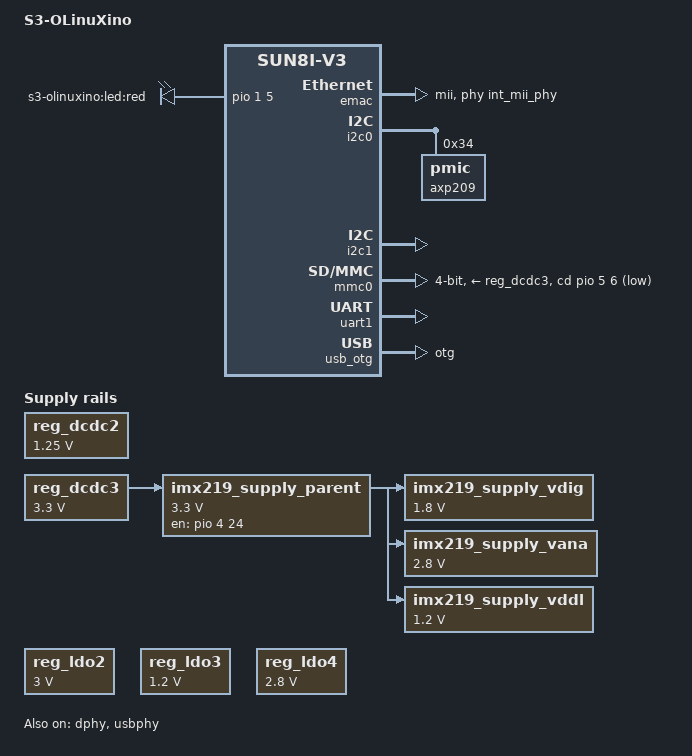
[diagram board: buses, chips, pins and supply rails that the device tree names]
// SPDX-License-Identifier: (GPL-2.0+ OR X11)
/*
 * Copyright 2020 Paul Kocialkowski <contact@paulk.fr>
 */

/dts-v1/;
#include "sun8i-v3.dtsi"
#include <dt-bindings/gpio/gpio.h>

/ {
	model = "S3-OLinuXino";
	/* FIXME with agreed lines */
	compatible = "olimex,s3-olinuxino", "allwinner,sun8i-s3",
		     "allwinner,sun8i-v3";

	aliases {
		serial0 = &uart1;
	};

	chosen {
		stdout-path = "serial0:115200n8";
	};

	leds {
		compatible = "gpio-leds";

		led-red {
			label = "s3-olinuxino:led:red";
			gpios = <&pio 1 5 GPIO_ACTIVE_HIGH>; /* PB5 */
		};
	};

/*
	reserved-memory {
		#address-cells = <1>;
		#size-cells = <1>;
		ranges;

		csi0_memory: pool {
			compatible = "shared-dma-pool";
			size = <0x4000000>;
			no-align;
			no-map;
		};
	};
*/

	imx219_supply_parent: imx219-supply-parent {
		compatible = "regulator-fixed";
		regulator-name = "imx219-supply-parent";
		regulator-min-microvolt = <3300000>;
		regulator-max-microvolt = <3300000>;
		vin-supply = <&reg_dcdc3>;
		gpio = <&pio 4 24 GPIO_ACTIVE_HIGH>; /* PE24 */
		enable-active-high;
	};

	imx219_supply_vdig: imx219-supply-vdig {
		compatible = "regulator-fixed";
		regulator-name = "imx219-supply-vdig";
		regulator-min-microvolt = <1800000>;
		regulator-max-microvolt = <1800000>;
		vin-supply = <&imx219_supply_parent>;
	};

	imx219_supply_vana: imx219-supply-vana {
		compatible = "regulator-fixed";
		regulator-name = "imx219-supply-vana";
		regulator-min-microvolt = <2800000>;
		regulator-max-microvolt = <2800000>;
		vin-supply = <&imx219_supply_parent>;
	};

	imx219_supply_vddl: imx219-supply-vddl {
		compatible = "regulator-fixed";
		regulator-name = "imx219-supply-vddl";
		regulator-min-microvolt = <1200000>;
		regulator-max-microvolt = <1200000>;
		vin-supply = <&imx219_supply_parent>;
	};

	imx219_clock: clock {
		compatible = "fixed-clock";
		#clock-cells = <0>;
		clock-frequency = <24000000>;
	};
};


/*
&csi0 {
	memory-region = <&csi0_memory>; 
	status = "okay";
};
*/

/*
&csi1 {
	pinctrl-names = "default";
	pinctrl-0 = <&csi1_8bit_pins>;
	status = "okay";
};
*/

&dphy {
	status = "okay";
};

&emac {
	phy-handle = <&int_mii_phy>;
	phy-mode = "mii";
	status = "okay";
};

&i2c0 {
	status = "okay";

	axp209: pmic@34 {
		reg = <0x34>;
		interrupt-parent = <&nmi_intc>;
		interrupts = <0 IRQ_TYPE_LEVEL_LOW>;
	};
};

&i2c1 {
	pinctrl-names = "default";
	pinctrl-0 = <&i2c1_pe_pins>;
	status = "okay";
/*
	ov2640: camera@30 {
		compatible = "ovti,ov2640";
		reg = <0x30>;
		pinctrl-names = "default";
		pinctrl-0 = <&csi1_mclk_pin>;
		assigned-clocks = <&ccu CLK_CSI1_MCLK>;
		assigned-clock-rates = <24000000>;
		resetb-gpios = <&pio 4 16 GPIO_ACTIVE_HIGH>;
		pwdn-gpios = <&pio 4 17 GPIO_ACTIVE_LOW>;
		clocks = <&ccu CLK_CSI1_MCLK>;
		clock-names = "xvclk";
		status = "okay";
	};
*/

/*
	imx219: camera@10 {
		compatible = "sony,imx219";
		reg = <0x10>;
		clocks = <&imx219_clock>;
		clock-names = "xclk";
		VDIG-supply = <&imx219_supply_vdig>;
		VANA-supply = <&imx219_supply_vana>;
		VDDL-supply = <&imx219_supply_vddl>;

		port {
			imx219_out_mipi_csi2: endpoint {
				data-lanes = <1 2>;
				link-frequencies = /bits/ 64 <456000000>;

				remote-endpoint = <&mipi_csi2_in_imx219>;
			};
		};
	};
*/
};
/*
&mipi_csi2 {
	status = "okay";
};

&mipi_csi2_in {
	mipi_csi2_in_imx219: endpoint {
		data-lanes = <1 2>;

		remote-endpoint = <&imx219_out_mipi_csi2>;
	};
};
*/
&mmc0 {
	vmmc-supply = <&reg_dcdc3>;
	bus-width = <4>;
	cd-gpios = <&pio 5 6 GPIO_ACTIVE_LOW>; /* PF6 */
	status = "okay";
};

&pio {
	vcc-pd-supply = <&reg_dcdc3>;
	vcc-pe-supply = <&reg_dcdc3>;
};

#include "axp209.dtsi"

&battery_power_supply {
	status = "okay";
};

&reg_dcdc2 {
	regulator-always-on;
	regulator-min-microvolt = <1250000>;
	regulator-max-microvolt = <1250000>;
	regulator-name = "vdd-sys-cpu-ephy";
};

&reg_dcdc3 {
	regulator-always-on;
	regulator-min-microvolt = <3300000>;
	regulator-max-microvolt = <3300000>;
	regulator-name = "vcc-3v3";
};

&reg_ldo2 {
	regulator-always-on;
	regulator-min-microvolt = <3000000>;
	regulator-max-microvolt = <3000000>;
	regulator-name = "avcc";
};

&reg_ldo3 {
	regulator-always-on; /* FIXME: OV2640 does not support regulators. */
	regulator-min-microvolt = <1200000>;
	regulator-max-microvolt = <1200000>;
	regulator-name = "dvdd-1v2-csi";
};

&reg_ldo4 {
	regulator-always-on; /* FIXME: OV2640 does not support regulators. */
	regulator-min-microvolt = <2800000>;
	regulator-max-microvolt = <2800000>;
	regulator-name = "avdd-2v8-csi";
};

&usb_power_supply {
	status = "okay";
};

&uart1 {
	pinctrl-0 = <&uart1_pg_pins>;
	pinctrl-names = "default";
	status = "okay";
};

&usb_otg {
	dr_mode = "otg";
	status = "okay";
};

&usbphy {
	usb0_id_det-gpios = <&pio 6 9 GPIO_ACTIVE_HIGH>; /* PG9 */
	usb0_vbus_det-gpios = <&pio 1 10 GPIO_ACTIVE_HIGH>; /* PB10 */
	/* usb0_vbus-supply = <&reg_usb0_vbus>; */ /* TODO: from AXP */
	status = "okay";
};
